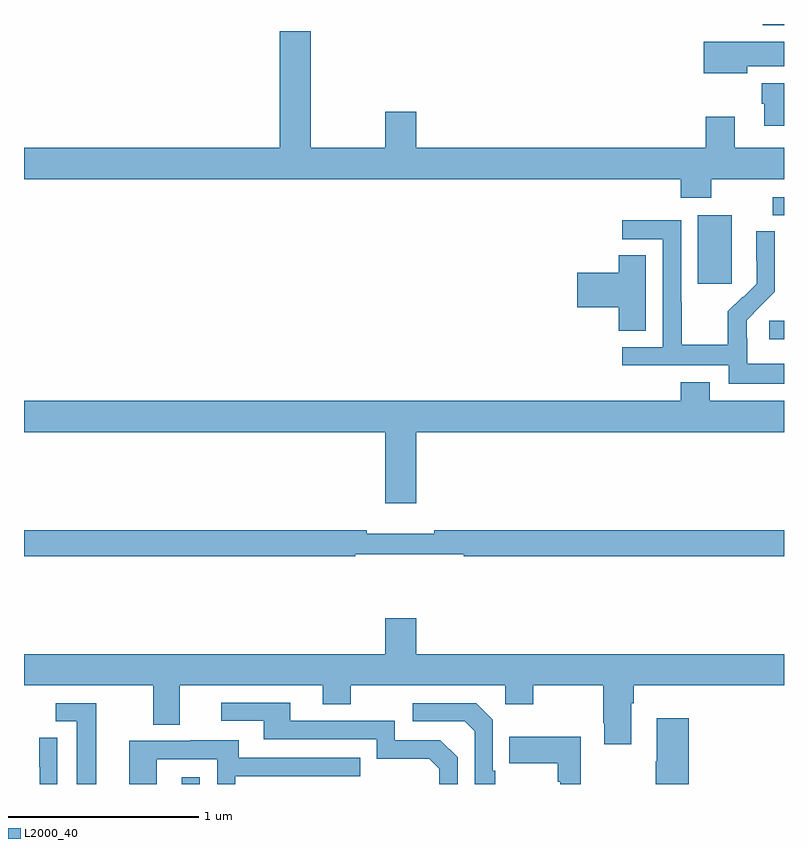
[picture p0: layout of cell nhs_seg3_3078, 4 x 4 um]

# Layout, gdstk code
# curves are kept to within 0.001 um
import gdstk
lib = gdstk.Library(unit=1e-6, precision=1e-09)
def R(c, l, rs):  # rectangles x0, y0, x1, y1
    for r in rs: c.add(gdstk.rectangle(r[:2], r[2:], *l))
def P(c, l, *ps):  # polygons
    for p in ps: c.add(gdstk.Polygon(p, *l))
L2000_40 = (2000, 40)

nhs_seg3_3078 = lib.new_cell('nhs_seg3_3078')
R(nhs_seg3_3078, L2000_40, [(271.829,696.4,271.926,696.436), (274.923,698.741,275,698.838), (274.547,699.033,274.726,699.394), (274.941,699.393,275,699.489), (274.889,700.394,275,700.4)])
P(nhs_seg3_3078, L2000_40, [(272.9,699.937),(272.9,699.748),(272.509,699.748),(272.509,700.363),(272.345,700.363),(272.345,699.748),(271,699.748),(271,699.584),(274.457,699.584),(274.457,699.485),(274.617,699.485),(274.617,699.584),(275,699.584),(275,699.748),(274.741,699.748),(274.741,699.913),(274.589,699.913),(274.589,699.748),(273.064,699.748),(273.064,699.937)],
  [(274.807,700.178),(275,700.178),(275,700.306),(274.578,700.306),(274.578,700.142),(274.807,700.142)],
  [(275,700.089),(274.883,700.089),(274.883,699.981),(274.895,699.981),(274.895,699.864),(275,699.864)],
  [(275,698.611),(274.806,698.611),(274.806,698.745),(274.804,698.745),(274.804,698.842),(274.95,698.99),(274.95,699.308),(274.854,699.308),(274.854,699.154),(274.856,699.154),(274.856,699.032),(274.785,698.961),(274.782,698.964),(274.705,698.887),(274.705,698.713),(274.461,698.713),(274.461,698.936),(274.458,698.936),(274.458,699.366),(274.149,699.366),(274.149,699.267),(274.362,699.267),(274.362,698.7),(274.149,698.7),(274.149,698.604),(274.71,698.604),(274.71,698.507),(275,698.507)],
  [(274.273,699.182),(274.13,699.182),(274.13,699.092),(273.912,699.092),(273.912,698.909),(274.13,698.909),(274.13,698.785),(274.273,698.785)],
  [(273.064,698.252),(275,698.252),(275,698.416),(274.609,698.416),(274.609,698.515),(274.457,698.515),(274.457,698.416),(271,698.416),(271,698.252),(272.9,698.252),(272.9,697.878),(273.064,697.878)],
  [(272.744,697.608),(273.315,697.608),(273.315,697.6),(275,697.6),(275,697.736),(273.16,697.736),(273.16,697.717),(272.804,697.717),(272.804,697.736),(271,697.736),(271,697.6),(272.744,697.6)],
  [(271,696.92),(271.679,696.92),(271.679,696.712),(271.819,696.712),(271.819,696.92),(272.573,696.92),(272.573,696.821),(272.721,696.821),(272.721,696.92),(273.534,696.92),(273.534,696.821),(273.681,696.821),(273.681,696.92),(274.048,696.92),(274.048,696.721),(274.055,696.721),(274.055,696.609),(274.195,696.609),(274.195,696.824),(274.208,696.824),(274.208,696.92),(275,696.92),(275,697.084),(273.064,697.084),(273.064,697.273),(272.9,697.273),(272.9,697.084),(271,697.084)],
  [(273.282,696.54),(273.192,696.63),(272.952,696.63),(272.952,696.732),(272.401,696.732),(272.401,696.828),(272.037,696.828),(272.037,696.732),(272.261,696.732),(272.261,696.636),(272.856,696.636),(272.856,696.533),(273.133,696.533),(273.186,696.48),(273.186,696.4),(273.282,696.4)],
  [(273.481,696.469),(273.468,696.469),(273.468,696.738),(273.381,696.825),(273.045,696.825),(273.045,696.729),(273.321,696.729),(273.372,696.678),(273.372,696.4),(273.481,696.4)],
  [(271.381,696.825),(271.167,696.825),(271.167,696.729),(271.277,696.729),(271.277,696.4),(271.381,696.4)],
  [(274.499,696.745),(274.331,696.745),(274.331,696.521),(274.324,696.521),(274.324,696.4),(274.499,696.4)],
  [(273.931,696.649),(273.553,696.649),(273.553,696.509),(273.81,696.509),(273.81,696.413),(273.822,696.413),(273.822,696.4),(273.931,696.4)],
  [(271.176,696.644),(271.08,696.644),(271.08,696.49),(271.082,696.49),(271.082,696.4),(271.176,696.4)],
  [(271.698,696.531),(272.016,696.531),(272.016,696.4),(272.112,696.4),(272.112,696.441),(272.771,696.441),(272.771,696.537),(272.131,696.537),(272.131,696.631),(271.877,696.631),(271.877,696.627),(271.553,696.627),(271.553,696.4),(271.698,696.4)])

lib.write_gds('nhs_seg3_3078.gds')
